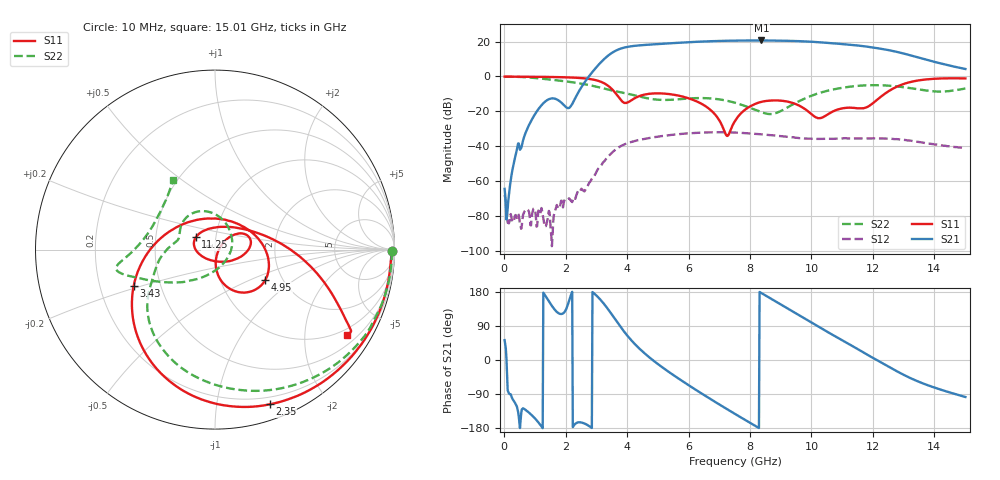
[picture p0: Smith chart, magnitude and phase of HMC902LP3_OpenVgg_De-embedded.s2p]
! Hittite Microwave Corporation
! 20 Alpha Road
! Chelmsford, MA 01824
! http://www.hittite.com
! Tel: 978-250-3343
! Fax: 978-250-3373
! Device:  HMC902LP3E
! Description: GaAs pHEMT MMIC Low Noise Amplifier
! Frequency:  5.00 -  10.00 GHz
! Package:  LP3  - 3x3 mm Quad Flatpack No-Lead (QFN) Plastic Package: 16 pin
! Ports:  2 RF, 4 DC
!  Pin  3 = RF In  = Port 1
!  Pin  5 = Vgg1 (Optional)
!  Pin  6 = Vgg2 (Optional)
!  Pin 10 = RF Out  = Port 2
!  Pin 14 = Vdd2
!  Pin 15 = Vdd1
! Voltages:  Vdd  = Vdd1 = Vdd2 = +3.50  Volts
!  Idd  = Idd1 + Idd2 = 87.49  mA
!  Vgg1  = left opened
!  Vgg2  = left opened
! Data:  The device was measured on evaluation board 128395.
!  Data was collected using a calibrated network analyzer.
!  The evaluation circuit board was modeled and simulated.  This was use
!  to removed the evaluation board circuit from the measured data.
!  The reference plane is the edge of the package pin.
! Misc:
! Date Measured:  2010-08-30
! Date:  2010-09-07 MJV
! Note:
!  Hittite supplies this data as a sample of measured data at the package pin for
!  for this package product.  Your particular data for this product may vary.
!  Data was taken at 25 degrees C.
!  Hittite reserves the right to change this data at anytime.
# GHz S MA R 50
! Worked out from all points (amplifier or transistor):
!   751 points, 10 MHz to 15.01 GHz, reference 50 ohm
!   highest |S21| = 20.6 dB at 8.37 GHz (marker M1)
!   |S21| within 3 dB of that: 4.284 GHz to 11.56 GHz (7.278 GHz wide, 91.9 % of centre)
!   unconditionally stable (mu >= 1): start of sweep to end of sweep
!   at 2.51 GHz: K = 205.13, MAG = 3.0 dB, |S12| = -64.4 dB
!   at 7.51 GHz: K = 1.99, MAG = 20.7 dB, |S12| = -32.2 dB
!   at 15.01 GHz: K = 6.14, MAG = 11.8 dB, |S12| = -41.0 dB
!   S11 on the Smith chart (normalised r, x): 10 MHz: open; 2.35 GHz: 0.13, -1.40; 3.43 GHz: 0.35, -0.19; 4.95 GHz: 1.64, -0.61; 11.25 GHz: 0.80, +0.11; 15.01 GHz: 0.80, -3.21
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0.01  0.9866 -0.4  0.0006 52.4  0.0004024 -145.9  0.9853 -0.5
1.09  0.9748 -28.0  0.1092 -162.8  9.737e-05 42.1  0.8848 -56.7
2.35  0.9143 -70.6  0.2798 -166.1  0.0004044 -110.4  0.6534 -112.5
2.51  0.8954 -78.2  0.4905 -164.9  0.0006058 -111.0  0.6203 -119.0
3.03  0.7596 -112.2  1.976 167.7  0.002077 -88.3  0.5002 -138.9
3.43  0.4971 -155.8  4.262 128.1  0.00562 -115.3  0.4092 -151.1
3.75  0.2354 144.9  6.091 91.3  0.009592 -145.9  0.3567 -160.1
4.01  0.1774 65.3  7.028 63.8  0.01225 -170.2  0.3198 -168.7
4.45  0.2834 -1.4  7.824 26.1  0.01556 157.7  0.2584 177.7
4.95  0.3271 -30.7  8.392 -7.6  0.01852 128.4  0.2168 166.9
5.01  0.3274 -33.4  8.461 -11.3  0.01879 125.6  0.2146 165.8
5.61  0.289 -56.0  9.124 -45.6  0.0218 96.5  0.2191 153.6
6.33  0.1807 -78.3  9.877 -83.6  0.02438 64.5  0.2397 131.1
6.89  0.07578 -87.1  10.32 -111.9  0.02509 41.2  0.2263 108.5
7.51  0.0527 38.0  10.61 -142.3  0.02458 17.3  0.1759 78.0
8.37  0.1867 27.7  10.72 176.6  0.02187 -11.3  0.0945 8.5
9.29  0.1837 -1.1  10.43 132.9  0.01831 -34.5  0.1404 -103.1
10.01  0.08146 -56.4  9.837 98.1  0.01632 -45.9  0.2819 -139.5
11.25  0.1272 147.0  8.094 40.7  0.01673 -67.1  0.5077 -163.4
12.51  0.377 4.3  5.664 -17.6  0.01643 -97.8  0.5438 -171.6
13.69  0.8117 -27.4  3.093 -63.7  0.01233 -128.4  0.3988 170.8
15.01  0.874 -32.8  1.632 -97.7  0.008863 -153.8  0.4514 121.4
